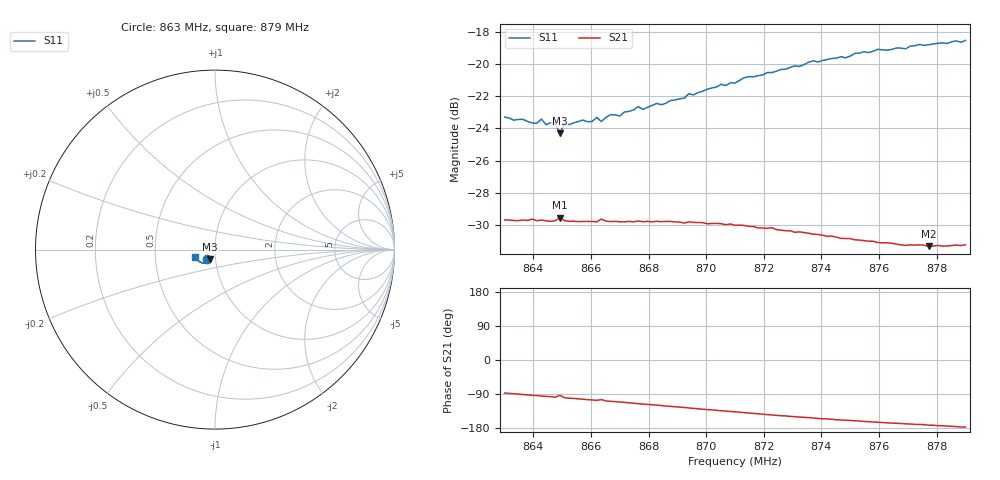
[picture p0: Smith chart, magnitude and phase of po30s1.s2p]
# HZ S RI R 50
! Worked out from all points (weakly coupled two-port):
!   101 points, 863 MHz to 879 MHz, reference 50 ohm
!   highest |S21| = -29.56 dB at 864.92 MHz (marker M1); lowest = -31.3 dB at 877.72 MHz (marker M2)
!   lowest |S11| = -24.3 dB at 864.92 MHz (marker M3), VSWR 1.13, Z = 47.1 - j5.16 ohm
!   |S11| at or under -10 dB: start of sweep to end of sweep
!   S12 and S22 are empty: the file has one direction only
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8.63e8  -0.0433 -0.053  0.00171 -0.0327  0 0  0 0
8.6396e8  -0.0387 -0.053  -0.00185 -0.0329  0 0  0 0
8.6428e8  -0.0379 -0.0558  -0.00293 -0.0326  0 0  0 0
8.6444e8  -0.0369 -0.0533  -0.00344 -0.0324  0 0  0 0
8.6476e8  -0.0362 -0.0541  -0.00461 -0.0322  0 0  0 0
8.6492e8  -0.0272 -0.0546  -0.00181 -0.0332  0 0  0 0
8.6508e8  -0.0343 -0.0555  -0.00538 -0.0321  0 0  0 0
8.6572e8  -0.034 -0.0577  -0.00755 -0.0315  0 0  0 0
8.6604e8  -0.0328 -0.0577  -0.00863 -0.0312  0 0  0 0
8.662e8  -0.035 -0.0586  -0.00912 -0.031  0 0  0 0
8.6636e8  -0.0298 -0.0592  -0.00824 -0.0319  0 0  0 0
8.6668e8  -0.0336 -0.061  -0.0106 -0.0306  0 0  0 0
8.67e8  -0.0336 -0.0603  -0.0116 -0.0302  0 0  0 0
8.6764e8  -0.0359 -0.0645  -0.0139 -0.0294  0 0  0 0
8.678e8  -0.0352 -0.0633  -0.0144 -0.0289  0 0  0 0
8.6844e8  -0.0356 -0.0658  -0.0163 -0.028  0 0  0 0
8.694e8  -0.0393 -0.0708  -0.0192 -0.0259  0 0  0 0
8.71e8  -0.047 -0.0737  -0.023 -0.0216  0 0  0 0
8.7372e8  -0.0691 -0.0757  -0.0264 -0.0133  0 0  0 0
8.7644e8  -0.0922 -0.0621  -0.0269 -0.00647  0 0  0 0
8.7772e8  -0.1024 -0.0522  -0.0269 -0.00381  0 0  0 0
8.79e8  -0.112 -0.039  -0.0273 -0.00152  0 0  0 0
